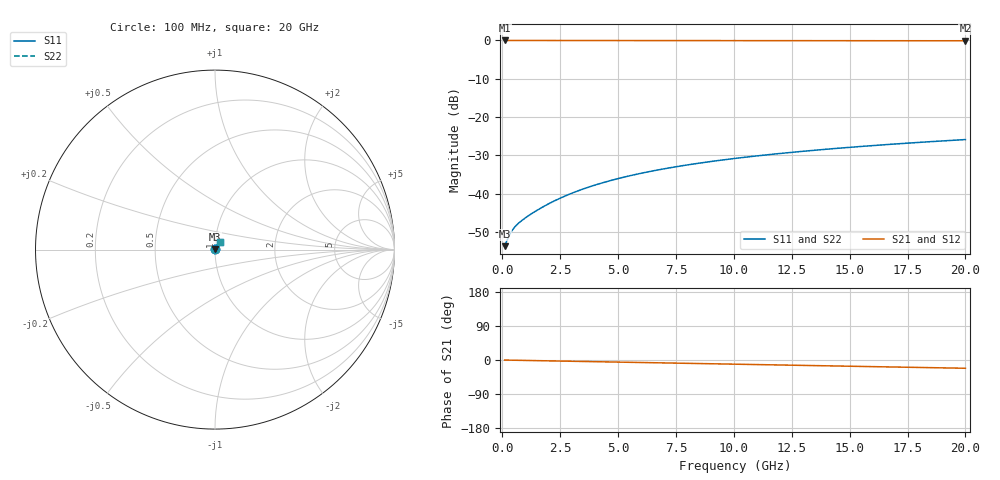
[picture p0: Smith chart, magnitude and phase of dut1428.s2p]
! Touchstone file exported from HFSS 2026.1.0
!  File:  C:/ffzhzh/LocalFiles/Ansys_Project_Files/temp_train_TMRDL_1428_1783166813_51560.aedt
!  Generated:  08:07:59 PM Jul  4, 2026
!  Design:  TMRDL
!  Project:  temp_train_TMRDL_1428_1783166813_51560
! Variables:
!  h_bsmrdl = 2um
!  h_ox = 20um
!  h_rdl = 5um
!  h_sub = 80um
!  h_tmrdl = 3.12um
!  h_tsv = 80um
!  h_via = 3um
!  l_bsmrdl = 300um
!  l_sub = 772.61um
!  l_tmrdl = 372.61um
!  m_sub = 200um
!  pitch = 31.16um
!  r_tsv = 6um
!  s_tmrdl = 10um
!  w_bsmrdl = 18um
!  w_sub = 500um
!  w_tmrdl = 25.44um
!  x_tsv_center1 = 385.33um
!  x_tsv_center2 = 703.33um
!  x_tsv_center3 = 1101.38um
!  x_tsv_center4 = 1419.38um
!  x_tsv_center5 = 1817.43um
!  x_tsv_center6 = 2135.43um
# GHz S MA R 50.000000
! Terminal data exported
! Port[1] = TM_RDL1_1_T1
! Port[2] = TM_RDL1_1_T2
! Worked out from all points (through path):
!   200 points, 100 MHz to 20 GHz, reference 50 ohm
!   highest |S21| = -0.02 dB at 100 MHz (marker M1); lowest = -0.1 dB at 20 GHz (marker M2)
!   group delay of S21, straight-line fit = 3.02 ps
!   lowest |S11| = -53.7 dB at 100 MHz (marker M3), VSWR 1.00, Z = 50.2 + j0.062 ohm
!   |S11| at or under -10 dB: start of sweep to end of sweep
!   |S22| runs from -53.7 to -25.9 dB; largest |S21 - S12| = 2.1e-15
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0.1  0.002063 17.4  0.998 -0.1  0.998 -0.1  0.002063 17.4
! Gamma 0 0 0 0
! Port Impedance 50 0 50 0
0.3  0.002852 34.0  0.9976 -0.4  0.9976 -0.4  0.002852 34.0
0.4  0.003228 37.2  0.9974 -0.5  0.9974 -0.5  0.003228 37.2
0.5  0.003555 39.4  0.9973 -0.6  0.9973 -0.6  0.003555 39.4
0.6  0.003844 41.2  0.9971 -0.7  0.9971 -0.7  0.003845 41.3
0.7  0.004108 43.0  0.997 -0.8  0.997 -0.8  0.004109 43.0
1  0.004839 47.8  0.9968 -1.2  0.9968 -1.2  0.00484 47.8
1.3  0.005565 52.0  0.9967 -1.5  0.9967 -1.5  0.005566 52.0
1.6  0.006318 55.6  0.9966 -1.8  0.9966 -1.8  0.006319 55.6
2.2  0.007905 60.6  0.9964 -2.5  0.9964 -2.5  0.007906 60.6
2.8  0.00956 63.7  0.9962 -3.1  0.9962 -3.1  0.00956 63.7
3.5  0.01152 65.7  0.9959 -3.9  0.9959 -3.9  0.01153 65.7
4.2  0.01349 66.8  0.9956 -4.7  0.9956 -4.7  0.01349 66.8
5  0.01573 67.4  0.9953 -5.6  0.9953 -5.6  0.01573 67.4
5.9  0.01819 67.4  0.9948 -6.6  0.9948 -6.6  0.01819 67.4
6.8  0.0206 67.1  0.9943 -7.6  0.9943 -7.6  0.0206 67.1
8.3  0.02449 66.2  0.9935 -9.2  0.9935 -9.2  0.02449 66.2
10.1  0.02895 64.8  0.9926 -11.2  0.9926 -11.2  0.02895 64.8
11.7  0.03275 63.5  0.9917 -12.9  0.9917 -12.9  0.03275 63.5
13.4  0.03666 62.1  0.9909 -14.7  0.9909 -14.7  0.03666 62.0
16.7  0.04391 59.2  0.9894 -18.3  0.9894 -18.3  0.04391 59.2
20  0.0508 56.3  0.9881 -21.8  0.9881 -21.8  0.0508 56.3
